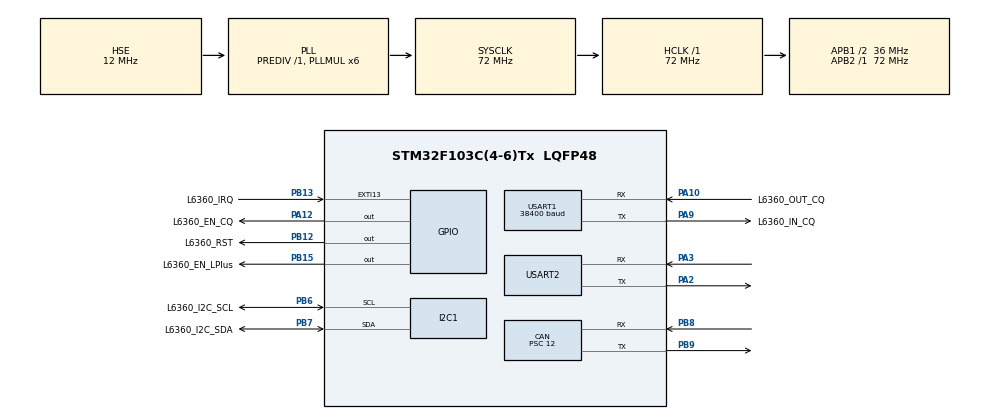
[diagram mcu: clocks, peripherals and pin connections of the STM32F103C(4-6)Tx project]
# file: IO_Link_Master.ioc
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CAN.ABOM=ENABLE
CAN.BS1=CAN_BS1_3TQ
CAN.BS2=CAN_BS2_2TQ
CAN.CalculateBaudRate=499999
CAN.CalculateTimeBit=2000
CAN.CalculateTimeQuantum=333.33333333333337
CAN.NART=ENABLE
CAN.Prescaler=12
CAN.SJW=CAN_SJW_1TQ
Dma.Request0=USART2_RX
Dma.Request1=USART2_TX
Dma.USART2_RX.0.Direction=DMA_PERIPH_TO_MEMORY
Dma.USART2_RX.0.Instance=DMA1_Channel6
Dma.USART2_RX.0.MemDataAlignment=DMA_MDATAALIGN_BYTE
Dma.USART2_RX.0.MemInc=DMA_MINC_ENABLE
Dma.USART2_RX.0.Mode=DMA_NORMAL
Dma.USART2_RX.0.PeriphDataAlignment=DMA_PDATAALIGN_BYTE
Dma.USART2_RX.0.PeriphInc=DMA_PINC_DISABLE
Dma.USART2_RX.0.Priority=DMA_PRIORITY_LOW
Dma.USART2_TX.1.Direction=DMA_MEMORY_TO_PERIPH
Dma.USART2_TX.1.Instance=DMA1_Channel7
Dma.USART2_TX.1.MemDataAlignment=DMA_MDATAALIGN_BYTE
Dma.USART2_TX.1.MemInc=DMA_MINC_ENABLE
Dma.USART2_TX.1.Mode=DMA_NORMAL
Dma.USART2_TX.1.PeriphDataAlignment=DMA_PDATAALIGN_BYTE
Dma.USART2_TX.1.PeriphInc=DMA_PINC_DISABLE
Dma.USART2_TX.1.Priority=DMA_PRIORITY_LOW
Mcu.Family=STM32F1
Mcu.Name=STM32F103C(4-6)Tx
Mcu.Package=LQFP48
NVIC.CAN1_SCE_IRQn=true\:0\:0\:false\:false\:true\:true\:true\:true
NVIC.DMA1_Channel6_IRQn=true\:0\:0\:false\:false\:true\:false\:true\:true
NVIC.DMA1_Channel7_IRQn=true\:0\:0\:false\:false\:true\:false\:true\:true
NVIC.EXTI15_10_IRQn=true\:0\:0\:false\:false\:true\:true\:true\:true
NVIC.PriorityGroup=NVIC_PRIORITYGROUP_4
NVIC.TIM2_IRQn=true\:0\:0\:false\:false\:true\:true\:true\:true
NVIC.TIM3_IRQn=true\:0\:0\:false\:false\:true\:true\:true\:true
NVIC.USART1_IRQn=true\:0\:0\:false\:false\:true\:true\:true\:true
NVIC.USB_LP_CAN1_RX0_IRQn=true\:0\:0\:false\:false\:true\:true\:true\:true
PA10.GPIO_Label=L6360_OUT_CQ
PA10.Mode=Asynchronous
PA10.Signal=USART1_RX
PA12.GPIO_Label=L6360_EN_CQ
PA12.GPIO_Speed=GPIO_SPEED_FREQ_HIGH
PA12.Signal=GPIO_Output
PA13.Mode=Serial_Wire
PA13.Signal=SYS_JTMS-SWDIO
PA14.Mode=Serial_Wire
PA14.Signal=SYS_JTCK-SWCLK
PA2.Mode=Asynchronous
PA2.Signal=USART2_TX
PA3.Mode=Asynchronous
PA3.Signal=USART2_RX
PA9.GPIO_Label=L6360_IN_CQ
PA9.Mode=Asynchronous
PA9.Signal=USART1_TX
PB12.GPIO_Label=L6360_RST
PB12.GPIO_ModeDefaultOutputPP=GPIO_MODE_OUTPUT_OD
PB12.GPIO_PuPd=GPIO_NOPULL
PB12.GPIO_Speed=GPIO_SPEED_FREQ_HIGH
PB12.PinState=GPIO_PIN_SET
PB12.Signal=GPIO_Output
PB13.GPIO_Label=L6360_IRQ
PB13.GPIO_ModeDefaultEXTI=GPIO_MODE_IT_FALLING
PB13.GPIO_PuPd=GPIO_PULLUP
PB13.Signal=GPXTI13
PB15.GPIO_Label=L6360_EN_LPlus
PB15.GPIO_Speed=GPIO_SPEED_FREQ_HIGH
PB15.Signal=GPIO_Output
PB6.GPIO_Label=L6360_I2C_SCL
PB6.GPIO_Pu=GPIO_PULLUP
PB6.Mode=I2C
PB6.Signal=I2C1_SCL
PB7.GPIO_Label=L6360_I2C_SDA
PB7.GPIO_Pu=GPIO_PULLUP
PB7.Mode=I2C
PB7.Signal=I2C1_SDA
PB8.Mode=CAN_Activate
PB8.Signal=CAN_RX
PB9.Mode=CAN_Activate
PB9.Signal=CAN_TX
PD0-OSC_IN.Mode=HSE-External-Oscillator
PD0-OSC_IN.Signal=RCC_OSC_IN
PD1-OSC_OUT.Mode=HSE-External-Oscillator
PD1-OSC_OUT.Signal=RCC_OSC_OUT
ProjectManager.HeapSize=0x200
ProjectManager.StackSize=0x400
ProjectManager.TargetToolchain=MDK-ARM V5.32
RCC.AHBFreq_Value=72000000
RCC.APB1CLKDivider=RCC_HCLK_DIV2
RCC.APB1Freq_Value=36000000
RCC.APB1TimFreq_Value=72000000
RCC.APB2Freq_Value=72000000
RCC.APB2TimFreq_Value=72000000
RCC.HCLKFreq_Value=72000000
RCC.HSE_VALUE=12000000
RCC.PLLMUL=RCC_PLL_MUL6
RCC.PLLSourceVirtual=RCC_PLLSOURCE_HSE
RCC.SYSCLKFreq_VALUE=72000000
RCC.SYSCLKSource=RCC_SYSCLKSOURCE_PLLCLK
RCC.USBFreq_Value=72000000
TIM2.Period=10000 - 1
TIM2.Prescaler=7200 - 1
TIM3.Period=2000 - 1
TIM3.Prescaler=72 - 1
USART1.BaudRate=38400
USART1.Parity=PARITY_EVEN
USART1.VirtualMode=VM_ASYNC
USART1.WordLength=WORDLENGTH_9B
USART2.VirtualMode=VM_ASYNC
VP_TIM2_VS_ClockSourceINT.Mode=Internal
VP_TIM3_VS_ClockSourceINT.Mode=Internal
board=custom

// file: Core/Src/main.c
/* USER CODE BEGIN Header */
/**
  ******************************************************************************
  * @file           : main.c
  * @brief          : Main program body
  ******************************************************************************
  * @attention
  *
  * Copyright (c) 2024 STMicroelectronics.
  * All rights reserved.
  *
  * This software is licensed under terms that can be found in the LICENSE file
  * in the root directory of this software component.
  * If no LICENSE file comes with this software, it is provided AS-IS.
  *
  ******************************************************************************
  */
/* USER CODE END Header */
#include "main.h"
#include "can.h"
#include "dma.h"
#include "i2c.h"
#include "tim.h"
#include "usart.h"
#include "gpio.h"

/* USER CODE BEGIN Includes */
#include "can_bsp.h"
#include "DT35.h"

#define DT35_ID 0x101
/* USER CODE END Includes */

/* USER CODE BEGIN PV */
uint8_t reWakeUpFlag = 0;
uint8_t reWakeUpCounter = 0;
uint8_t wakeUpCounter = 0;
uint16_t errorCounter = 0;
volatile uint16_t errorflag = 0;
volatile uint16_t errorstate = 0;
volatile uint8_t l6360_irq_pending = 0;
volatile uint8_t l6360_runtime_monitor_enabled = 0;
uint16_t l6360_startup_state = 0;
uint16_t l6360_startup_irq_count = 0;
uint16_t processData = 0;
uint16_t processDataLast = 0;
extern M_Sequence_Type_0 m_sequence0;
extern M_Sequence_Type_2_2 m_sequence2;
/* USER CODE END PV */

void SystemClock_Config(void);

/* USER CODE BEGIN 0 */
/**
	* @brief 16bits距离值按大端拆分为两个8bits
	* @retval status
	*/
HAL_StatusTypeDef uart_send_message(UART_HandleTypeDef *huart, uint16_t data){
	uint8_t buffer[2];
	buffer[0] = (uint8_t)(data >> 8);
	buffer[1] = (uint8_t)(data & 0xFF);
	return HAL_UART_Transmit(huart, buffer, 2, 100);
}
/* USER CODE END 0 */

int main(void)
{

  /* MCU Configuration--------------------------------------------------------*/

  /* Reset of all peripherals, Initializes the Flash interface and the Systick. */
  HAL_Init();

  /* Configure the system clock */
  SystemClock_Config();

  /* Initialize all configured peripherals */
  MX_GPIO_Init();
  MX_DMA_Init();
  MX_I2C1_Init();
  MX_USART1_UART_Init();
  MX_USART2_UART_Init();
  MX_CAN_Init();
  MX_TIM3_Init();
  MX_TIM2_Init();
  /* USER CODE BEGIN 2 */
  CAN_Init();
  /* Ignore expected IRQ activity during L6360 power/reset sequencing. */
  l6360_runtime_monitor_enabled = 0;
  HAL_NVIC_DisableIRQ(EXTI15_10_IRQn);
  __HAL_GPIO_EXTI_CLEAR_IT(L6360_IRQ_Pin);

  L6360_Init();

  /* Keep startup status for diagnostics instead of dropping it. */
  l6360_startup_state = L6360_Current_Read_Register();
  l6360_startup_irq_count = 0;
  l6360_irq_pending = 0;

  /* Runtime error counters start from 0 after startup snapshot. */
  errorstate = 0;
  errorflag = 0;

  __HAL_GPIO_EXTI_CLEAR_IT(L6360_IRQ_Pin);
  HAL_NVIC_EnableIRQ(EXTI15_10_IRQn);
  l6360_runtime_monitor_enabled = 1;

while (dl_wake_up() != HAL_OK && wakeUpCounter < 3)
  {
	  wakeUpCounter++;
	  HAL_Delay(300);
  }
  L6360_Set_Led(1, LED_ON);
  HAL_Delay(0);
  dl_write_type_0(&m_sequence0, 0x99, 0x00);
  HAL_Delay(1);
  DT35_Set_Resolution(1);   // 1:1mm/计数(量程可达65m,覆盖12m);0:0.1mm(仅6.5m)
//  dl_write_ISDU_uint8(0x69, 0x00);
  HAL_Delay(1);

  HAL_TIM_Base_Start_IT(&htim2);
  HAL_TIM_Base_Start_IT(&htim3);
  L6360_Set_Led(2, LED_SLOW_BLINK);

  /* USER CODE END 2 */

  /* Infinite loop */
  while (1)
  {

    /* USER CODE BEGIN 3 */
    if (l6360_irq_pending != 0U)
    {
      l6360_irq_pending = 0;
      errorstate = L6360_Current_Read_Register();
    }

	  if (!reWakeUpFlag)
	  {
		  errorCounter += dl_read_type_2_2(&m_sequence2, &processData, NULL, Idle_1);
		  HAL_Delay(0);
	  }
	  else if (reWakeUpFlag)
	  {
		  HAL_Delay(10);
		  while (dl_reconnection_handler() != DL_OK)
		  {
			  HAL_Delay(100);
		  }
		  L6360_Set_Led(1, LED_ON);
		  L6360_Set_Led(2, LED_ON);
		  reWakeUpFlag = 0;
	  }
	  if (processData != 0 && processDataLast == 0)
	  {
		L6360_Set_Led(2, LED_ON);
	  }
	  else if (processData == 0 && processDataLast != 0)
	  {
		L6360_Set_Led(2, LED_SLOW_BLINK);
	  }
	  processDataLast = processData;
  }
  /* USER CODE END 3 */
}

void SystemClock_Config(void)
{
  RCC_OscInitTypeDef RCC_OscInitStruct = {0};
  RCC_ClkInitTypeDef RCC_ClkInitStruct = {0};

  /** Initializes the RCC Oscillators according to the specified parameters
  * in the RCC_OscInitTypeDef structure.
  */
  RCC_OscInitStruct.OscillatorType = RCC_OSCILLATORTYPE_HSE;
  RCC_OscInitStruct.HSEState = RCC_HSE_ON;
  RCC_OscInitStruct.HSEPredivValue = RCC_HSE_PREDIV_DIV1;
  RCC_OscInitStruct.HSIState = RCC_HSI_ON;
  RCC_OscInitStruct.PLL.PLLState = RCC_PLL_ON;
  RCC_OscInitStruct.PLL.PLLSource = RCC_PLLSOURCE_HSE;
  RCC_OscInitStruct.PLL.PLLMUL = RCC_PLL_MUL6;
  if (HAL_RCC_OscConfig(&RCC_OscInitStruct) != HAL_OK)
  {
    Error_Handler();
  }

  /** Initializes the CPU, AHB and APB buses clocks
  */
  RCC_ClkInitStruct.ClockType = RCC_CLOCKTYPE_HCLK|RCC_CLOCKTYPE_SYSCLK
                              |RCC_CLOCKTYPE_PCLK1|RCC_CLOCKTYPE_PCLK2;
  RCC_ClkInitStruct.SYSCLKSource = RCC_SYSCLKSOURCE_PLLCLK;
  RCC_ClkInitStruct.AHBCLKDivider = RCC_SYSCLK_DIV1;
  RCC_ClkInitStruct.APB1CLKDivider = RCC_HCLK_DIV2;
  RCC_ClkInitStruct.APB2CLKDivider = RCC_HCLK_DIV1;

  if (HAL_RCC_ClockConfig(&RCC_ClkInitStruct, FLASH_LATENCY_2) != HAL_OK)
  {
    Error_Handler();
  }
}

/* USER CODE BEGIN 4 */
void HAL_GPIO_EXTI_Callback(uint16_t GPIO_Pin)
{
	if (GPIO_Pin == L6360_IRQ_Pin)
	{
    if (l6360_runtime_monitor_enabled != 0U)
    {
      l6360_irq_pending = 1;
      errorflag++;
    }
    else
    {
      l6360_startup_irq_count++;
    }
	}
}

void HAL_TIM_PeriodElapsedCallback(TIM_HandleTypeDef *htim)
{
	if (htim->Instance == htim3.Instance)
	{
		if (reWakeUpFlag == 0)
		{
				uart_send_message(&huart2, processData);
		}
	}
	else if (htim->Instance == htim2.Instance)
	{
		if (errorCounter < 10)
		{
			errorCounter = 0;
		}
		else
		{
			if (reWakeUpFlag == 0)
			{
				reWakeUpFlag = 1;
				L6360_Set_Led(1, LED_FAST_BLINK);
				L6360_Set_Led(2, LED_FAST_BLINK);
				errorCounter = 0;
			}
		}
	}
}
/* USER CODE END 4 */

void Error_Handler(void)
{
  /* USER CODE BEGIN Error_Handler_Debug */
  /* User can add his own implementation to report the HAL error return state */
  __disable_irq();
  while (1)
  {
	  HAL_NVIC_SystemReset();
  }
  /* USER CODE END Error_Handler_Debug */
}
